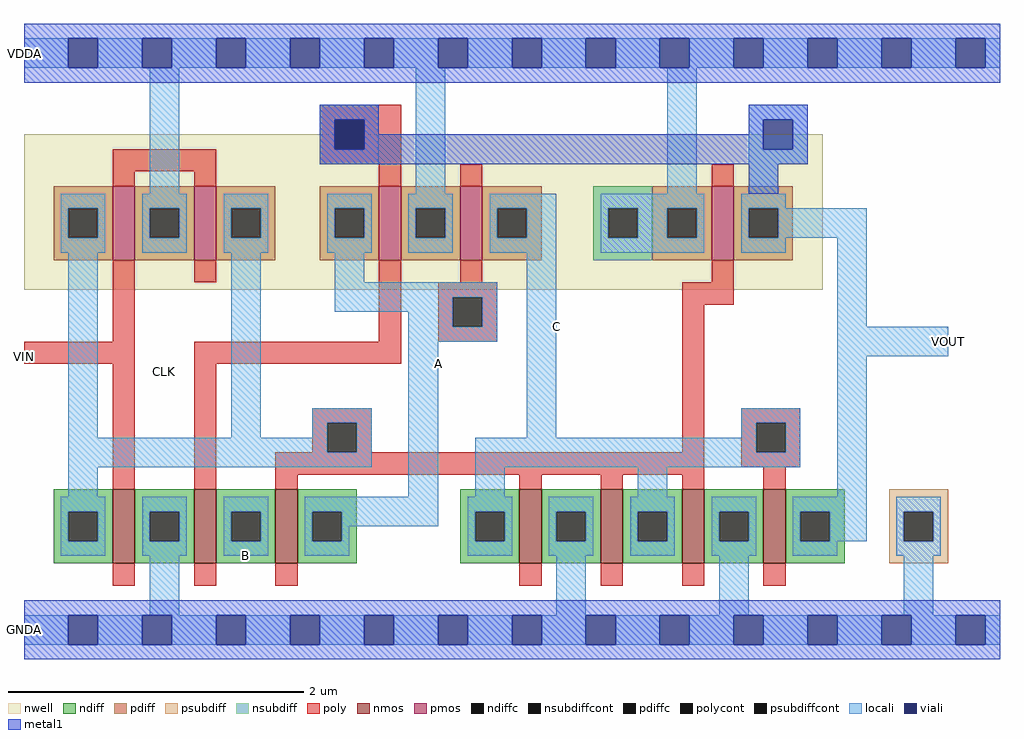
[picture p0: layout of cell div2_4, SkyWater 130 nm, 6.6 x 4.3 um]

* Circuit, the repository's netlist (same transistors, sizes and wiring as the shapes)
* NGSPICE file created from div2_4.ext - technology: sky130A

.subckt div2_4 VOUT VIN VDDA GNDA
X0 VOUT C GNDA GNDA sky130_fd_pr__nfet_01v8 ad=0.2 pd=1.8 as=0.1 ps=0.9 w=0.5 l=0.15
X1 VOUT CLK VDDA VDDA sky130_fd_pr__pfet_01v8 ad=0.2 pd=1.8 as=0.2 ps=1.8 w=0.5 l=0.15
X2 C CLK GNDA GNDA sky130_fd_pr__nfet_01v8 ad=0.1 pd=0.9 as=0.1 ps=0.9 w=0.5 l=0.15
X3 C A VDDA VDDA sky130_fd_pr__pfet_01v8 ad=0.2 pd=1.8 as=0.1 ps=0.9 w=0.5 l=0.15
X4 A CLK B GNDA sky130_fd_pr__nfet_01v8 ad=0.2 pd=1.8 as=0.1 ps=0.9 w=0.5 l=0.15
X5 CLK VIN VDDA VDDA sky130_fd_pr__pfet_01v8 ad=0.2 pd=1.8 as=0.1 ps=0.9 w=0.5 l=0.15
X6 GNDA VIN CLK GNDA sky130_fd_pr__nfet_01v8 ad=0.1 pd=0.9 as=0.2 ps=1.8 w=0.5 l=0.15
X7 VDDA VOUT A VDDA sky130_fd_pr__pfet_01v8 ad=0.1 pd=0.9 as=0.2 ps=1.8 w=0.5 l=0.15
X8 GNDA CLK C GNDA sky130_fd_pr__nfet_01v8 ad=0.1 pd=0.9 as=0.1 ps=0.9 w=0.5 l=0.15
X9 GNDA CLK C GNDA sky130_fd_pr__nfet_01v8 ad=0.1 pd=0.9 as=0.2 ps=1.8 w=0.5 l=0.15
X10 B VOUT GNDA GNDA sky130_fd_pr__nfet_01v8 ad=0.1 pd=0.9 as=0.1 ps=0.9 w=0.5 l=0.15
X11 VDDA VIN CLK VDDA sky130_fd_pr__pfet_01v8 ad=0.1 pd=0.9 as=0.2 ps=1.8 w=0.5 l=0.15
.ends

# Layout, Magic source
magic
tech sky130A
<< nwell >>
rect 605 150 1145 255
<< nmos >>
rect 665 -35 680 15
rect 720 -35 735 15
rect 775 -35 790 15
rect 940 -35 955 15
rect 995 -35 1010 15
rect 1050 -35 1065 15
rect 1105 -35 1120 15
<< pmos >>
rect 665 170 680 220
rect 720 170 735 220
rect 845 170 860 220
rect 900 170 915 220
rect 1070 170 1085 220
<< ndiff >>
rect 625 0 665 15
rect 625 -20 635 0
rect 655 -20 665 0
rect 625 -35 665 -20
rect 680 0 720 15
rect 680 -20 690 0
rect 710 -20 720 0
rect 680 -35 720 -20
rect 735 0 775 15
rect 735 -20 745 0
rect 765 -20 775 0
rect 735 -35 775 -20
rect 790 0 830 15
rect 790 -20 800 0
rect 820 -20 830 0
rect 790 -35 830 -20
rect 900 0 940 15
rect 900 -20 910 0
rect 930 -20 940 0
rect 900 -35 940 -20
rect 955 0 995 15
rect 955 -20 965 0
rect 985 -20 995 0
rect 955 -35 995 -20
rect 1010 0 1050 15
rect 1010 -20 1020 0
rect 1040 -20 1050 0
rect 1010 -35 1050 -20
rect 1065 0 1105 15
rect 1065 -20 1075 0
rect 1095 -20 1105 0
rect 1065 -35 1105 -20
rect 1120 0 1160 15
rect 1120 -20 1130 0
rect 1150 -20 1160 0
rect 1120 -35 1160 -20
<< pdiff >>
rect 625 205 665 220
rect 625 185 635 205
rect 655 185 665 205
rect 625 170 665 185
rect 680 205 720 220
rect 680 185 690 205
rect 710 185 720 205
rect 680 170 720 185
rect 735 205 775 220
rect 735 185 745 205
rect 765 185 775 205
rect 735 170 775 185
rect 805 205 845 220
rect 805 185 815 205
rect 835 185 845 205
rect 805 170 845 185
rect 860 205 900 220
rect 860 185 870 205
rect 890 185 900 205
rect 860 170 900 185
rect 915 205 955 220
rect 915 185 925 205
rect 945 185 955 205
rect 915 170 955 185
rect 1030 205 1070 220
rect 1030 185 1040 205
rect 1060 185 1070 205
rect 1030 170 1070 185
rect 1085 205 1125 220
rect 1085 185 1095 205
rect 1115 185 1125 205
rect 1085 170 1125 185
<< ndiffc >>
rect 635 -20 655 0
rect 690 -20 710 0
rect 745 -20 765 0
rect 800 -20 820 0
rect 910 -20 930 0
rect 965 -20 985 0
rect 1020 -20 1040 0
rect 1075 -20 1095 0
rect 1130 -20 1150 0
<< pdiffc >>
rect 635 185 655 205
rect 690 185 710 205
rect 745 185 765 205
rect 815 185 835 205
rect 870 185 890 205
rect 925 185 945 205
rect 1040 185 1060 205
rect 1095 185 1115 205
<< psubdiff >>
rect 1190 0 1230 15
rect 1190 -20 1200 0
rect 1220 -20 1230 0
rect 1190 -35 1230 -20
<< nsubdiff >>
rect 990 205 1030 220
rect 990 185 1000 205
rect 1020 185 1030 205
rect 990 170 1030 185
<< psubdiffcont >>
rect 1200 -20 1220 0
<< nsubdiffcont >>
rect 1000 185 1020 205
<< poly >>
rect 805 265 860 275
rect 805 245 815 265
rect 835 245 860 265
rect 665 230 735 245
rect 805 235 860 245
rect 665 220 680 230
rect 720 220 735 230
rect 845 220 860 235
rect 900 220 915 235
rect 1070 220 1085 235
rect 665 115 680 170
rect 720 155 735 170
rect 845 115 860 170
rect 900 155 915 170
rect 1070 155 1085 170
rect 885 145 925 155
rect 885 125 895 145
rect 915 125 925 145
rect 885 115 925 125
rect 1050 140 1085 155
rect 605 100 680 115
rect 665 15 680 100
rect 720 100 860 115
rect 720 15 735 100
rect 800 60 840 70
rect 800 40 810 60
rect 830 40 840 60
rect 1050 40 1065 140
rect 775 25 1065 40
rect 1090 60 1130 70
rect 1090 40 1100 60
rect 1120 40 1130 60
rect 1090 30 1130 40
rect 775 15 790 25
rect 940 15 955 25
rect 995 15 1010 25
rect 1050 15 1065 25
rect 1105 15 1120 30
rect 665 -50 680 -35
rect 720 -50 735 -35
rect 775 -50 790 -35
rect 940 -50 955 -35
rect 995 -50 1010 -35
rect 1050 -50 1065 -35
rect 1105 -50 1120 -35
<< polycont >>
rect 815 245 835 265
rect 895 125 915 145
rect 810 40 830 60
rect 1100 40 1120 60
<< locali >>
rect 605 300 635 320
rect 655 300 685 320
rect 705 300 735 320
rect 755 300 785 320
rect 805 300 835 320
rect 855 300 885 320
rect 905 300 935 320
rect 955 300 985 320
rect 1005 300 1035 320
rect 1055 300 1085 320
rect 1105 300 1135 320
rect 1155 300 1185 320
rect 1205 300 1235 320
rect 1255 300 1265 320
rect 690 215 710 300
rect 805 265 845 275
rect 805 245 815 265
rect 835 245 845 265
rect 805 235 845 245
rect 870 215 890 300
rect 1040 215 1060 300
rect 1095 265 1135 275
rect 1095 245 1105 265
rect 1125 245 1135 265
rect 1095 235 1135 245
rect 1095 215 1115 235
rect 630 205 660 215
rect 630 185 635 205
rect 655 185 660 205
rect 630 175 660 185
rect 685 205 715 215
rect 685 185 690 205
rect 710 185 715 205
rect 685 175 715 185
rect 740 205 770 215
rect 740 185 745 205
rect 765 185 770 205
rect 740 175 770 185
rect 810 205 840 215
rect 810 185 815 205
rect 835 185 840 205
rect 810 175 840 185
rect 865 205 895 215
rect 865 185 870 205
rect 890 185 895 205
rect 865 175 895 185
rect 920 205 965 215
rect 920 185 925 205
rect 945 185 965 205
rect 920 175 965 185
rect 995 205 1065 215
rect 995 185 1000 205
rect 1020 185 1040 205
rect 1060 185 1065 205
rect 995 175 1065 185
rect 1090 205 1120 215
rect 1090 185 1095 205
rect 1115 185 1175 205
rect 1090 175 1120 185
rect 635 50 655 175
rect 745 50 765 175
rect 815 155 835 175
rect 815 145 925 155
rect 815 135 895 145
rect 865 125 895 135
rect 915 125 925 145
rect 865 115 925 125
rect 800 60 840 70
rect 800 50 810 60
rect 635 40 810 50
rect 830 40 840 60
rect 635 30 840 40
rect 635 10 655 30
rect 865 10 885 115
rect 945 50 965 175
rect 1155 125 1175 185
rect 1155 105 1230 125
rect 1090 60 1130 70
rect 1090 50 1100 60
rect 910 40 1100 50
rect 1120 40 1130 60
rect 910 30 1130 40
rect 910 10 930 30
rect 1020 10 1040 30
rect 1155 10 1175 105
rect 630 0 660 10
rect 630 -20 635 0
rect 655 -20 660 0
rect 630 -30 660 -20
rect 685 0 715 10
rect 685 -20 690 0
rect 710 -20 715 0
rect 685 -30 715 -20
rect 740 0 770 10
rect 740 -20 745 0
rect 765 -20 770 0
rect 740 -30 770 -20
rect 795 0 885 10
rect 795 -20 800 0
rect 820 -10 885 0
rect 905 0 935 10
rect 820 -20 825 -10
rect 795 -30 825 -20
rect 905 -20 910 0
rect 930 -20 935 0
rect 905 -30 935 -20
rect 960 0 990 10
rect 960 -20 965 0
rect 985 -20 990 0
rect 960 -30 990 -20
rect 1015 0 1045 10
rect 1015 -20 1020 0
rect 1040 -20 1045 0
rect 1015 -30 1045 -20
rect 1070 0 1100 10
rect 1070 -20 1075 0
rect 1095 -20 1100 0
rect 1070 -30 1100 -20
rect 1125 0 1175 10
rect 1125 -20 1130 0
rect 1150 -20 1175 0
rect 1195 0 1225 10
rect 1195 -20 1200 0
rect 1220 -20 1225 0
rect 1125 -30 1155 -20
rect 1195 -30 1225 -20
rect 690 -70 710 -30
rect 965 -70 985 -30
rect 1075 -70 1095 -30
rect 1200 -70 1220 -30
rect 605 -90 635 -70
rect 655 -90 685 -70
rect 705 -90 735 -70
rect 755 -90 785 -70
rect 805 -90 835 -70
rect 855 -90 885 -70
rect 905 -90 935 -70
rect 955 -90 985 -70
rect 1005 -90 1035 -70
rect 1055 -90 1085 -70
rect 1105 -90 1135 -70
rect 1155 -90 1185 -70
rect 1205 -90 1235 -70
rect 1255 -90 1265 -70
<< viali >>
rect 635 300 655 320
rect 685 300 705 320
rect 735 300 755 320
rect 785 300 805 320
rect 835 300 855 320
rect 885 300 905 320
rect 935 300 955 320
rect 985 300 1005 320
rect 1035 300 1055 320
rect 1085 300 1105 320
rect 1135 300 1155 320
rect 1185 300 1205 320
rect 1235 300 1255 320
rect 815 245 835 265
rect 1105 245 1125 265
rect 635 -90 655 -70
rect 685 -90 705 -70
rect 735 -90 755 -70
rect 785 -90 805 -70
rect 835 -90 855 -70
rect 885 -90 905 -70
rect 935 -90 955 -70
rect 985 -90 1005 -70
rect 1035 -90 1055 -70
rect 1085 -90 1105 -70
rect 1135 -90 1155 -70
rect 1185 -90 1205 -70
rect 1235 -90 1255 -70
<< metal1 >>
rect 605 320 1265 330
rect 605 300 635 320
rect 655 300 685 320
rect 705 300 735 320
rect 755 300 785 320
rect 805 300 835 320
rect 855 300 885 320
rect 905 300 935 320
rect 955 300 985 320
rect 1005 300 1035 320
rect 1055 300 1085 320
rect 1105 300 1135 320
rect 1155 300 1185 320
rect 1205 300 1235 320
rect 1255 300 1265 320
rect 605 290 1265 300
rect 805 265 845 275
rect 805 245 815 265
rect 835 255 845 265
rect 1095 265 1135 275
rect 1095 255 1105 265
rect 835 245 1105 255
rect 1125 245 1135 265
rect 805 235 1135 245
rect 1095 215 1115 235
rect 605 -70 1265 -60
rect 605 -90 635 -70
rect 655 -90 685 -70
rect 705 -90 735 -70
rect 755 -90 785 -70
rect 805 -90 835 -70
rect 855 -90 885 -70
rect 905 -90 935 -70
rect 955 -90 985 -70
rect 1005 -90 1035 -70
rect 1055 -90 1085 -70
rect 1105 -90 1135 -70
rect 1155 -90 1185 -70
rect 1205 -90 1235 -70
rect 1255 -90 1265 -70
rect 605 -100 1265 -90
<< labels >>
flabel locali 755 -30 755 -30 5 FreeSans 160 0 0 -80 B
flabel metal1 605 -80 605 -80 7 FreeSans 160 0 -80 0 GNDA
port 4 w
flabel metal1 605 310 605 310 7 FreeSans 160 0 -80 0 VDDA
port 3 w
flabel poly 605 105 605 105 7 FreeSans 160 0 -80 0 VIN
port 2 w
flabel locali 965 125 965 125 3 FreeSans 160 0 80 0 C
flabel locali 1230 115 1230 115 3 FreeSans 160 0 80 0 VOUT
port 1 e
flabel space 700 95 700 95 1 FreeSans 160 0 0 80 CLK
flabel locali 885 100 885 100 3 FreeSans 160 0 80 0 A
<< end >>
